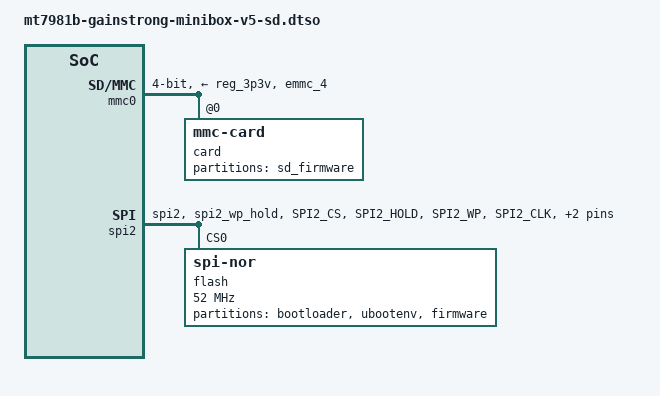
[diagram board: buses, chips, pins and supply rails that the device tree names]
/* SPDX-License-Identifier: (GPL-2.0-only OR MIT) */
/dts-v1/;
/plugin/;

#include <dt-bindings/gpio/gpio.h>
#include <dt-bindings/pinctrl/mt65xx.h>

&pio {
	mmc0_pins_sd: mmc0-pins-sd {
		mux {
			groups = "emmc_4";
			function = "flash";
		};
	};

		/* Enable SPI-NOR in SD boot mode so the SD system can program NOR. */
	spi2_flash_pins: spi2-pins {
		mux {
			function = "spi";
			groups = "spi2", "spi2_wp_hold";
		};

		conf-pu {
			pins = "SPI2_CS", "SPI2_HOLD", "SPI2_WP";
			drive-strength = <MTK_DRIVE_8mA>;
			bias-pull-up = <MTK_PUPD_SET_R1R0_11>;
		};

		conf-pd {
			pins = "SPI2_CLK", "SPI2_MOSI", "SPI2_MISO";
			drive-strength = <MTK_DRIVE_8mA>;
			bias-pull-down = <MTK_PUPD_SET_R1R0_11>;
		};
	};
};

&mmc0 {
	pinctrl-names = "default", "state_uhs";
	pinctrl-0 = <&mmc0_pins_sd>;
	pinctrl-1 = <&mmc0_pins_sd>;
	bus-width = <4>;
	max-frequency = <52000000>;
	cap-sd-highspeed;
	vmmc-supply = <&reg_3p3v>;
	vqmmc-supply = <&reg_3p3v>;
	broken-cd;
	no-mmc;
	no-sdio;
	status = "okay";
	#address-cells = <1>;
	#size-cells = <0>;

	card@0 {
		compatible = "mmc-card";
		reg = <0>;

		block {
			compatible = "block-device";
			partitions {
				sd_firmware: block-partition-firmware {
					partname = "firmware";
				};
			};
		};
	};
};

&chosen {
	rootdisk-sd = <&sd_firmware>;
};

&spi2 {
	#address-cells = <1>;
	#size-cells = <0>;
	pinctrl-names = "default";
	pinctrl-0 = <&spi2_flash_pins>;
	status = "okay";

	flash@0 {
		compatible = "jedec,spi-nor";
		reg = <0>;
		spi-max-frequency = <52000000>;

		partitions {
			compatible = "fixed-partitions";
			#address-cells = <1>;
			#size-cells = <1>;

			partition@0 {
				label = "bootloader";
				reg = <0x0 0xe0000>;
				read-only;
			};

			partition@e0000 {
				label = "ubootenv";
				reg = <0xe0000 0x10000>;
			};

			/* 0xf0000-0x100000 is intentionally left unused. */
			partition@100000 {
				label = "firmware";
				reg = <0x100000 0x0>;
			};
		};
	};
};

&spi0 {
	status = "disabled";
};
